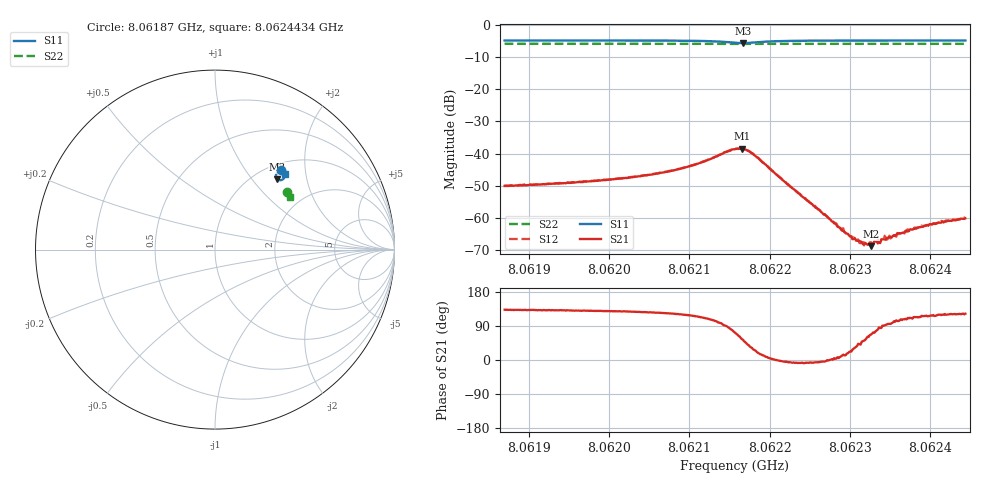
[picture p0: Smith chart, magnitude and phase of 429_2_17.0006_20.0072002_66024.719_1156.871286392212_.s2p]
#  HZ  S  RI  R  50.00
! Rohde & Schwarz Vector Network Analyzer
! Rohde-Schwarz,ZNB20-2Port,1311601062101988,3.16
! Created: UTC 3/20/2024, 11:11:17 PM
! freq[Hz]  re:S11  im:S11  re:S21  im:S21  re:S12  im:S12  re:S22  im:S22
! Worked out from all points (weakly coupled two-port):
!   401 points, 8.06187 GHz to 8.0624434 GHz, reference 50 ohm
!   highest |S21| = -38.44 dB at 8.0621653 GHz (marker M1); lowest = -68.8 dB at 8.0623259 GHz (marker M2)
!   lowest |S11| = -5.6 dB at 8.0621667 GHz (marker M3), VSWR 3.21, Z = 62.5 + j67.7 ohm
!   |S11| at or under -10 dB: nowhere
!   |S22| runs from -5.9 to -5.8 dB; largest |S21 - S12| = 0.00091
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8.06186999e9  0.3688 0.4425  -0.00212 0.0023  -0.00195 0.00248  0.4 0.3194
8.06196605e9  0.3756 0.4364  -0.00233 0.00278  -0.0022 0.00289  0.4038 0.3143
8.06202482e9  0.3803 0.4313  -0.00259 0.00334  -0.00241 0.00355  0.4059 0.3114
8.0620621e9  0.3837 0.4265  -0.00281 0.00405  -0.00258 0.0043  0.4072 0.3094
8.06210654e9  0.3879 0.4158  -0.00294 0.00603  -0.00258 0.00625  0.4088 0.3068
8.06215671e9  0.3642 0.3867  0.00358 0.0112  0.00431 0.0111  0.4091 0.3033
8.06216532e9  0.3497 0.3909  0.00684 0.00982  0.00733 0.0095  0.4087 0.3034
8.06216675e9  0.3476 0.3928  0.0071 0.00942  0.0078 0.00899  0.4086 0.3033
8.06217248e9  0.3415 0.4012  0.00838 0.00725  0.00889 0.00685  0.4087 0.3036
8.06218395e9  0.3407 0.4188  0.0082 0.00315  0.00853 0.00276  0.4093 0.3038
8.06225277e9  0.372 0.4345  0.00162 -0.000205  0.00164 -0.00029  0.4133 0.3008
8.06230007e9  0.3799 0.4311  0.000478 0.0002  0.000487 0.000158  0.4152 0.2984
8.06231441e9  0.3816 0.4301  0.000282 0.000311  0.000328 0.000298  0.4157 0.2976
8.06232014e9  0.3823 0.4298  0.000216 0.000331  0.000215 0.000317  0.4158 0.2972
8.06232588e9  0.3828 0.4294  0.000141 0.000334  0.000193 0.000371  0.416 0.2971
8.06233018e9  0.3832 0.4292  0.000136 0.000416  0.000143 0.000363  0.4161 0.2968
8.06233448e9  0.3836 0.4287  6.9e-05 0.000395  9.65e-05 0.000444  0.4165 0.2965
8.06234308e9  0.3846 0.4282  -1.39e-05 0.000462  2.72e-05 0.000526  0.4168 0.2961
8.06234882e9  0.385 0.4279  -4.64e-05 0.000508  -2.67e-05 0.000526  0.4169 0.2957
8.06236172e9  0.3862 0.4271  -0.000147 0.000559  -0.000114 0.000559  0.4174 0.2951
8.06239182e9  0.3885 0.4251  -0.000324 0.000664  -0.000284 0.000699  0.4184 0.2934
8.06244343e9  0.3923 0.4222  -0.000523 0.000831  -0.000493 0.000859  0.4203 0.2909
